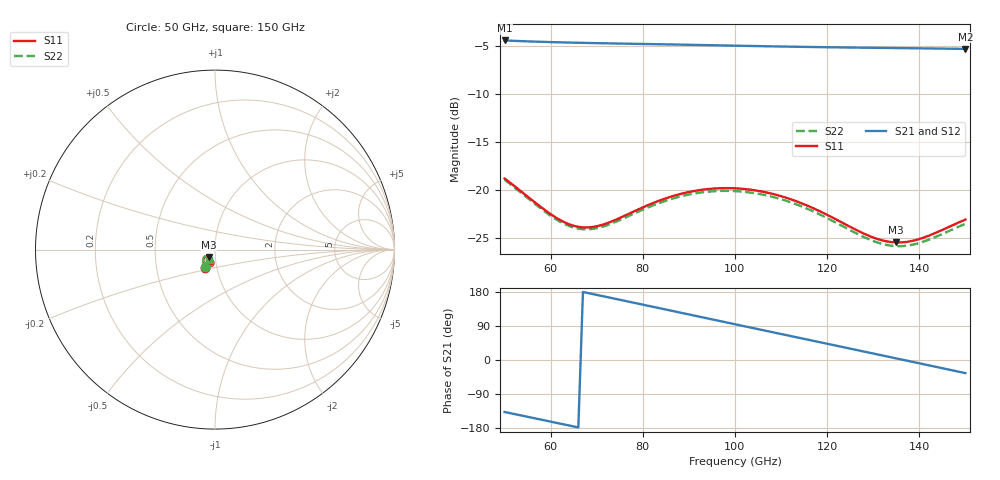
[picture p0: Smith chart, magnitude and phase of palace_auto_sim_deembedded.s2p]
! Created with skrf 1.11.0 (http://scikit-rf.org).
# GHz S DB R 50.0
!freq dBS11 angS11 dBS21 angS21 dBS12 angS12 dBS22 angS22
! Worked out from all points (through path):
!   101 points, 50 GHz to 150 GHz, reference 50 ohm
!   highest |S21| = -4.41 dB at 50 GHz (marker M1); lowest = -5.3 dB at 150 GHz (marker M2)
!   group delay of S21, straight-line fit = 7.16 ps
!   lowest |S11| = -25.4 dB at 135 GHz (marker M3), VSWR 1.11, Z = 46.5 - j3.79 ohm
!   |S11| at or under -10 dB: start of sweep to end of sweep
!   |S22| runs from -25.8 to -18.9 dB; largest |S21 - S12| = 6.7e-14
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50  -18.79 -119.2  -4.41 -137.2  -4.41 -137.2  -18.92 -119.7
55  -20.67 -122.1  -4.50 -149.9  -4.50 -149.9  -20.82 -122.7
59  -22.16 -120.8  -4.56 -160.1  -4.56 -160.1  -22.33 -121.5
63  -23.35 -115.8  -4.61 -170.3  -4.61 -170.3  -23.53 -116.6
67  -23.88 -108.2  -4.66 179.5  -4.66 179.5  -24.08 -109.1
71  -23.64 -101.2  -4.70 169.2  -4.70 169.2  -23.85 -102.2
75  -22.90 -97.2  -4.73 158.9  -4.73 158.9  -23.12 -98.4
79  -22.01 -96.7  -4.76 148.6  -4.76 148.6  -22.24 -97.9
84  -21.02 -99.6  -4.81 135.7  -4.81 135.7  -21.27 -101.1
92  -20.02 -109.0  -4.88 115.0  -4.88 115.0  -20.29 -110.8
96  -19.82 -114.7  -4.91 104.7  -4.91 104.7  -20.10 -116.6
100  -19.81 -120.6  -4.95 94.4  -4.95 94.4  -20.10 -122.7
108  -20.37 -132.0  -5.02 73.8  -5.02 73.8  -20.68 -134.3
112  -20.93 -136.8  -5.05 63.5  -5.05 63.5  -21.25 -139.3
117  -21.89 -141.3  -5.09 50.6  -5.09 50.6  -22.22 -144.1
126  -24.07 -142.3  -5.15 27.4  -5.15 27.4  -24.42 -145.5
130  -24.94 -138.4  -5.17 17.1  -5.17 17.1  -25.30 -141.8
134  -25.42 -132.1  -5.19 6.8  -5.19 6.8  -25.80 -135.7
135  -25.45 -130.4  -5.20 4.2  -5.20 4.2  -25.84 -134.0
138  -25.33 -125.2  -5.22 -3.5  -5.22 -3.5  -25.73 -129.0
142  -24.76 -119.9  -5.24 -13.9  -5.24 -13.9  -25.17 -123.8
150  -23.07 -117.2  -5.29 -34.6  -5.29 -34.6  -23.50 -121.3
